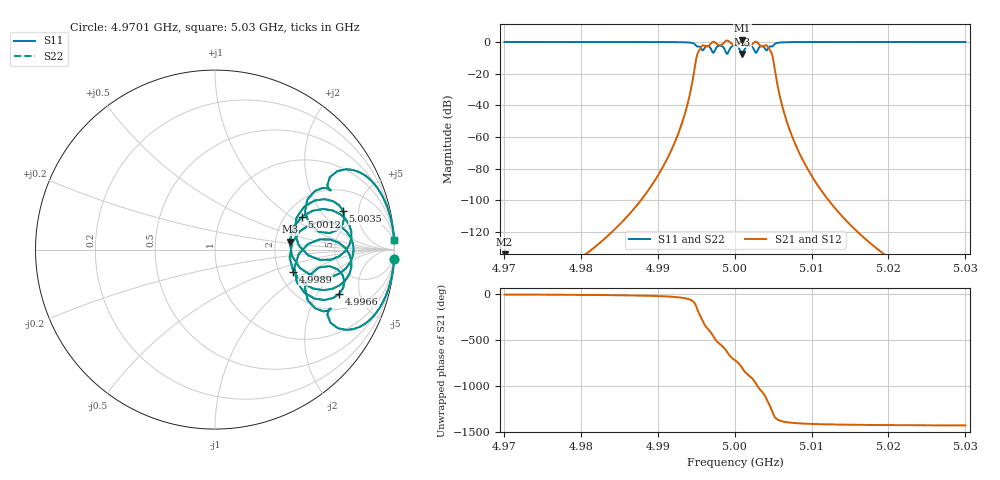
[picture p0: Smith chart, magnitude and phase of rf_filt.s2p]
# GHz S RI R 50
! S-Parameters data
! Freq  reS11  imS11  reS21  imS21  reS12  imS12  reS22  imS22
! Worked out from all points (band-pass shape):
!   600 points, 4.9701 GHz to 5.03 GHz, reference 50 ohm
!   highest |S21| = 0.94 dB at 5.001 GHz (marker M1); lowest = -165.1 dB at 4.9701 GHz (marker M2)
!   |S21| within 3 dB of the highest: 4.996728 GHz to 4.997983 GHz (1.255 MHz wide, 0.0251 % of centre); 4.998143 GHz to 5.001859 GHz (3.716 MHz wide, 0.0743 % of centre)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
!   lowest |S11| = -7.6 dB at 5.001 GHz (marker M3), VSWR 2.44, Z = 120 + j13 ohm
!   |S11| at or under -10 dB: nowhere
!   |S22| runs from -7.6 to 0.0 dB; largest |S21 - S12| = 0
!   S11 on the Smith chart (normalised r, x): 4.9701 GHz: 0, -38; 4.9966 GHz: 2.97, -3.17; 4.9989 GHz: 2.39, -0.74; 5.0012 GHz: 2.44, +1.22; 5.0035 GHz: 3.46, +3.35; 5.03 GHz: 0, +38
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4.9701  0.9982 -0.0527  5.5e-09 -7e-10  5.5e-09 -7e-10  0.9982 -0.0527
4.9801  0.9957 -0.0802  1.53e-07 -2.85e-08  1.53e-07 -2.85e-08  0.9957 -0.0802
4.9901  0.9796 -0.1724  5.9e-05 -2.55e-05  5.9e-05 -2.55e-05  0.9796 -0.1724
4.9929  0.9477 -0.2668  0.0014 -0.00111  0.0014 -0.00111  0.9477 -0.2668
4.9949  0.6843 -0.4379  -0.09 -0.1865  -0.09 -0.1865  0.6843 -0.4379
4.9958  0.5011 -0.2119  0.207 0.7337  0.207 0.7337  0.5011 -0.2119
4.9966  0.6925 -0.2459  0.6516 -0.3576  0.6516 -0.3576  0.6925 -0.2459
4.9972  0.4424 -0.1014  -0.1501 -1.002  -0.1501 -1.002  0.4424 -0.1014
4.9977  0.6926 0.0369  -0.7958 -0.3181  -0.7958 -0.3181  0.6926 0.0369
4.9989  0.437 -0.1234  -0.2266 1.068  -0.2266 1.068  0.437 -0.1234
5.0001  0.7677 -0.0359  0.8018 -0.0869  0.8018 -0.0869  0.7677 -0.0359
5.001  0.4159 0.0447  0.0108 -1.114  0.0108 -1.114  0.4159 0.0447
5.0012  0.4842 0.1828  -0.4224 -0.9594  -0.4224 -0.9594  0.4842 0.1828
5.0021  0.7496 0.0276  -0.7957 0.0793  -0.7957 0.0793  0.7496 0.0276
5.0027  0.4669 0.0229  -0.3928 0.9348  -0.3928 0.9348  0.4669 0.0229
5.0035  0.7135 0.2152  0.6813 0.2445  0.6813 0.2445  0.7135 0.2152
5.0042  0.501 0.2093  0.2157 -0.7337  0.2157 -0.7337  0.501 0.2093
5.0047  0.6457 0.3295  -0.4629 -0.17  -0.4629 -0.17  0.6457 0.3295
5.0071  0.9475 0.2674  0.00142 0.00113  0.00142 0.00113  0.9475 0.2674
5.0101  0.9805 0.1688  5.02e-05 2.11e-05  5.02e-05 2.11e-05  0.9805 0.1688
5.0201  0.9958 0.0797  1.46e-07 2.69e-08  1.46e-07 2.69e-08  0.9958 0.0797
5.03  0.9982 0.0529  5.6e-09 7e-10  5.6e-09 7e-10  0.9982 0.0529
